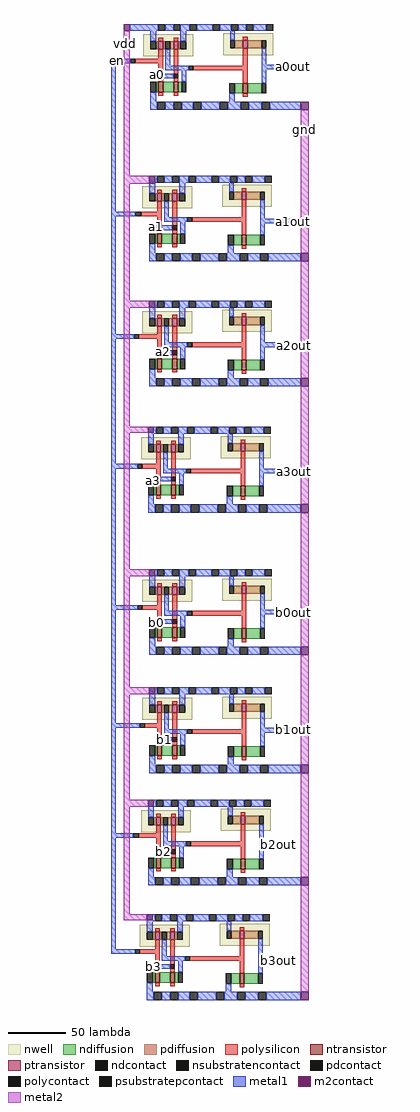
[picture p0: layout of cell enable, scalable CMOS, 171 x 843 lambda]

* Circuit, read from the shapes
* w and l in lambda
.subckt enable a0 a0out a1 a1out a2 a2out a3 a3out b0 b0out b1 b1out b2 b2out b3 b3out en gnd vdd
M1 n1 en gnd gnd nfet w=9 l=4
M2 n2 en gnd gnd nfet w=9 l=4
M3 n3 en gnd gnd nfet w=9 l=4
M4 n4 en gnd gnd nfet w=9 l=4
M5 n5 en gnd gnd nfet w=9 l=4
M6 n6 en gnd gnd nfet w=9 l=4
M7 n7 en gnd gnd nfet w=9 l=4
M8 n8 en gnd gnd nfet w=9 l=4
M9 n9 b3 n1 gnd nfet w=9 l=4
M10 n10 b2 n2 gnd nfet w=9 l=4
M11 n11 a3 n3 gnd nfet w=9 l=4
M12 n12 b1 n4 gnd nfet w=9 l=4
M13 n13 b0 n5 gnd nfet w=9 l=4
M14 n14 a2 n6 gnd nfet w=9 l=4
M15 n15 a1 n7 gnd nfet w=9 l=4
M16 n16 a0 n8 gnd nfet w=9 l=4
M17 b3out n9 gnd gnd nfet w=9 l=4
M18 b2out n10 gnd gnd nfet w=9 l=4
M19 a3out n11 gnd gnd nfet w=9 l=4
M20 b1out n12 gnd gnd nfet w=9 l=4
M21 b0out n13 gnd gnd nfet w=9 l=4
M22 a2out n14 gnd gnd nfet w=9 l=4
M23 a1out n15 gnd gnd nfet w=9 l=4
M24 a0out n16 gnd gnd nfet w=9 l=4
M25 n9 en vdd n17 pfet w=7 l=4
M26 n10 en vdd n18 pfet w=7 l=4
M27 n11 en vdd n19 pfet w=7 l=4
M28 n12 en vdd n20 pfet w=7 l=4
M29 n13 en vdd n21 pfet w=7 l=4
M30 n14 en vdd n22 pfet w=7 l=4
M31 n15 en vdd n23 pfet w=7 l=4
M32 n16 en vdd n24 pfet w=7 l=4
M33 vdd b3 n9 n17 pfet w=7 l=4
M34 vdd b2 n10 n18 pfet w=7 l=4
M35 vdd a3 n11 n19 pfet w=7 l=4
M36 vdd b1 n12 n20 pfet w=7 l=4
M37 vdd b0 n13 n21 pfet w=7 l=4
M38 vdd a2 n14 n22 pfet w=7 l=4
M39 vdd a1 n15 n23 pfet w=7 l=4
M40 vdd a0 n16 n24 pfet w=7 l=4
M41 b3out n9 vdd n25 pfet w=7 l=4
M42 b2out n10 vdd n26 pfet w=7 l=4
M43 a3out n11 vdd n27 pfet w=7 l=4
M44 b1out n12 vdd n28 pfet w=7 l=4
M45 b0out n13 vdd n29 pfet w=7 l=4
M46 a2out n14 vdd n30 pfet w=7 l=4
M47 a1out n15 vdd n31 pfet w=7 l=4
M48 a0out n16 vdd n32 pfet w=7 l=4
.ends

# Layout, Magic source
magic
tech scmos
<< polysilicon >>
rect -50 51 -28 55
rect -45 -81 -27 -77
rect -47 -187 -27 -183
rect -44 -299 -28 -295
rect -44 -421 -27 -417
rect -42 -523 -27 -519
rect -47 -618 -28 -614
rect -46 -718 -29 -714
<< polycontact >>
rect -54 51 -50 55
rect -17 38 -13 42
rect -50 -81 -45 -77
rect -18 -93 -14 -89
rect -51 -187 -47 -183
rect -18 -201 -14 -197
rect -48 -299 -44 -295
rect -19 -310 -15 -306
rect -48 -421 -44 -417
rect -18 -433 -14 -429
rect -46 -523 -42 -519
rect -18 -535 -14 -531
rect -52 -618 -47 -614
rect -19 -632 -15 -628
rect -50 -718 -46 -714
rect -20 -731 -16 -727
<< metal1 >>
rect -55 79 -37 85
rect -71 51 -54 55
rect -71 -77 -67 51
rect 59 46 98 50
rect -32 38 -17 42
rect 69 11 93 18
rect -71 -81 -50 -77
rect -71 -183 -67 -81
rect 58 -87 89 -83
rect -33 -93 -18 -89
rect 70 -120 93 -113
rect -71 -187 -51 -183
rect -71 -295 -67 -187
rect 59 -194 90 -190
rect -32 -201 -18 -197
rect 67 -228 93 -221
rect -71 -299 -48 -295
rect -71 -417 -67 -299
rect 59 -303 90 -299
rect -35 -310 -19 -306
rect 69 -337 93 -330
rect -71 -421 -48 -417
rect -71 -519 -67 -421
rect 59 -425 90 -421
rect -33 -433 -18 -429
rect 69 -460 93 -453
rect -71 -523 -46 -519
rect -71 -614 -67 -523
rect 59 -527 90 -523
rect -32 -535 -18 -531
rect 73 -562 93 -555
rect -71 -618 -52 -614
rect -71 -714 -67 -618
rect 59 -626 75 -622
rect -33 -632 -19 -628
rect 71 -659 93 -652
rect -71 -718 -50 -714
rect 58 -726 77 -722
rect -36 -731 -20 -727
rect 68 -758 93 -751
<< m2contact >>
rect -60 79 -55 85
rect 93 11 100 18
rect -38 -53 -33 -46
rect 93 -120 100 -113
rect -38 -160 -33 -154
rect 93 -228 100 -221
rect -39 -268 -34 -263
rect 93 -337 100 -330
rect -38 -392 -33 -386
rect 93 -460 100 -453
rect -38 -494 -33 -488
rect 93 -562 100 -555
rect -39 -591 -34 -585
rect 93 -659 100 -652
rect -40 -689 -35 -684
rect 93 -758 100 -751
<< metal2 >>
rect -60 -46 -55 79
rect -60 -53 -38 -46
rect -60 -154 -55 -53
rect 93 -113 100 11
rect -60 -160 -38 -154
rect -60 -263 -55 -160
rect 93 -221 100 -120
rect -60 -268 -39 -263
rect -60 -386 -55 -268
rect 93 -330 100 -228
rect -60 -392 -38 -386
rect -60 -488 -55 -392
rect 93 -453 100 -337
rect -60 -494 -38 -488
rect -60 -585 -55 -494
rect 93 -555 100 -460
rect -60 -591 -39 -585
rect -60 -684 -55 -591
rect 93 -652 100 -562
rect -60 -689 -40 -684
rect 93 -751 100 -659
use and  and_7
transform 1 0 -3 0 1 -720
box -43 -38 74 36
use and  and_6
transform 1 0 -2 0 1 -621
box -43 -38 74 36
use and  and_5
transform 1 0 -1 0 1 -524
box -43 -38 74 36
use and  and_4
transform 1 0 -1 0 1 -422
box -43 -38 74 36
use and  and_3
transform 1 0 -2 0 1 -299
box -43 -38 74 36
use and  and_2
transform 1 0 -1 0 1 -190
box -43 -38 74 36
use and  and_1
transform 1 0 -1 0 1 -82
box -43 -38 74 36
use and  and_0
transform 1 0 0 0 1 49
box -43 -38 74 36
<< labels >>
rlabel metal1 -66 53 -65 54 1 en
rlabel metal2 -59 68 -58 69 1 vdd
rlabel metal2 96 -7 97 -6 7 gnd
rlabel metal1 86 48 87 49 1 a0out
rlabel metal1 86 -86 87 -85 1 a1out
rlabel metal1 87 -193 88 -192 1 a2out
rlabel metal1 87 -302 88 -301 1 a3out
rlabel metal1 86 -424 87 -423 1 b0out
rlabel metal1 86 -525 87 -524 1 b1out
rlabel metal1 -31 41 -31 41 1 a0
rlabel metal1 -32 -90 -32 -90 1 a1
rlabel metal1 -26 -198 -26 -198 1 a2
rlabel metal1 -34 -309 -34 -309 1 a3
rlabel metal1 -32 -432 -32 -432 1 b0
rlabel metal1 -25 -533 -25 -533 1 b1
rlabel metal1 -26 -630 -26 -630 1 b2
rlabel metal1 -34 -729 -34 -729 1 b3
rlabel metal1 74 -724 74 -724 1 b3out
rlabel metal1 74 -624 74 -624 1 b2out
<< end >>

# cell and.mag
magic
tech scmos
<< nwell >>
rect -43 8 0 27
rect 26 9 69 28
<< ntransistor >>
rect -30 -23 -26 -14
rect -17 -23 -13 -14
rect 43 -24 47 -15
<< ptransistor >>
rect -30 14 -26 21
rect -17 14 -13 21
rect 43 15 47 22
<< ndiffusion >>
rect -32 -23 -30 -14
rect -26 -23 -17 -14
rect -13 -23 -10 -14
rect 36 -24 43 -15
rect 47 -24 59 -15
<< pdiffusion >>
rect -32 14 -30 21
rect -26 14 -24 21
rect -20 14 -17 21
rect -13 14 -11 21
rect 36 15 43 22
rect 47 15 59 22
<< ndcontact >>
rect -37 -23 -32 -14
rect -10 -23 -6 -14
rect 31 -24 36 -15
rect 59 -24 63 -15
<< pdcontact >>
rect -37 14 -32 21
rect -24 14 -20 21
rect -11 14 -6 21
rect 32 15 36 22
rect 59 15 63 22
<< psubstratepcontact >>
rect -31 -38 -24 -31
rect -17 -38 -10 -31
rect 0 -38 7 -31
rect 23 -38 30 -31
rect 41 -38 48 -31
rect 59 -38 66 -31
<< nsubstratencontact >>
rect -30 30 -24 36
rect -17 30 -11 36
rect -3 30 3 36
rect 17 30 23 36
rect 33 30 39 36
rect 46 30 52 36
rect 63 30 69 36
<< polysilicon >>
rect -30 21 -26 24
rect -17 21 -13 24
rect 43 22 47 25
rect -30 -14 -26 14
rect -17 -14 -13 14
rect 43 0 47 15
rect 0 -4 47 0
rect 43 -15 47 -4
rect -30 -26 -26 -23
rect -17 -26 -13 -23
rect 43 -27 47 -24
<< polycontact >>
rect -4 -4 0 0
<< metal1 >>
rect -37 30 -30 36
rect -24 30 -17 36
rect -11 30 -3 36
rect 3 30 17 36
rect 23 30 33 36
rect 39 30 46 36
rect 52 30 63 36
rect -37 21 -32 30
rect -11 21 -6 30
rect 32 22 36 30
rect -24 0 -20 14
rect -24 -4 -4 0
rect -10 -14 -6 -4
rect 59 -15 63 15
rect -37 -31 -32 -23
rect 31 -31 36 -24
rect -37 -38 -31 -31
rect -24 -38 -17 -31
rect -10 -38 0 -31
rect 7 -38 23 -31
rect 30 -38 41 -31
rect 48 -38 59 -31
rect 66 -38 74 -31
<< labels >>
rlabel metal1 -33 32 -32 33 5 vdd
rlabel metal1 -34 -35 -33 -34 1 gnd
rlabel polysilicon -29 -4 -28 -3 1 a
rlabel polysilicon -15 2 -14 3 1 b
rlabel metal1 61 -2 62 -1 1 y
<< end >>
